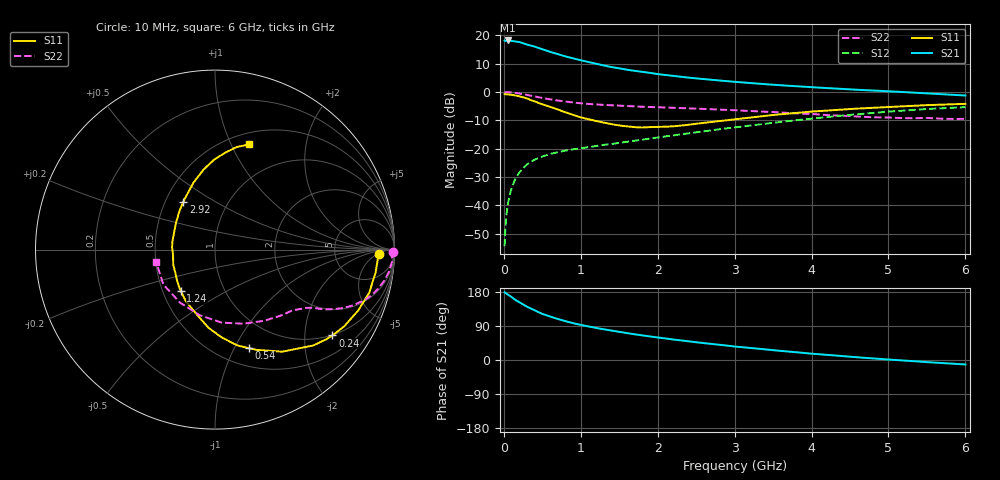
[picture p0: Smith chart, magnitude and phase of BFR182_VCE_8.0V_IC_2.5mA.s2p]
! Infineon Technologies  Discrete & RF Semiconductors
! BFR182
! VCE =  8.0 V,  IC =  2.5 mA
! Common Emitter S-Parameters:  Nov 2015
# GHz  S  MA  R  50
!  f  S11  S21  S12  S22
! GHz  MAG  ANG  MAG  ANG  MAG  ANG  MAG  ANG
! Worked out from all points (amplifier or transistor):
!   210 points, 10 MHz to 6 GHz, reference 50 ohm
!   highest |S21| = 18.1 dB at 50 MHz (marker M1)
!   |S21| within 3 dB of that: start of sweep to 488 MHz
!   unconditionally stable (mu >= 1): 1.394 GHz to 3.118 GHz
!   at 185 MHz: K = 0.21, MSG = 23.4 dB, |S12| = -29.1 dB
!   at 1.52 GHz: K = 1.02, MAG = 12.1 dB, |S12| = -17.9 dB
!   at 6 GHz: K = 0.88, MSG = 2.1 dB, |S12| = -5.4 dB
!   S11 on the Smith chart (normalised r, x): 10 MHz: 20, -6; 240 MHz: 0.98, -2.74; 540 MHz: 0.69, -1.14; 1.24 GHz: 0.62, -0.31; 2.92 GHz: 0.62, +0.36; 6 GHz: 0.62, +1.17
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0.01  0.9122 -1.7  8.054 178.6  0.0019 89.7  0.9945 -0.7
0.02  0.9091 -3.0  7.887 176.9  0.0039 90.7  0.9841 -1.4
0.05  0.9039 -8.1  8.071 172.9  0.01 84.8  0.9897 -3.6
0.1  0.8921 -15.7  7.964 166.2  0.0198 80.7  0.9783 -7.0
0.15  0.8663 -23.2  7.735 158.6  0.0292 76.2  0.9599 -10.3
0.2  0.8371 -30.7  7.576 152.4  0.0375 73.3  0.936 -13.3
0.24  0.8103 -36.2  7.271 147.6  0.0436 69.7  0.9158 -15.5
0.3  0.7649 -44.3  6.845 140.7  0.0524 66.6  0.8858 -18.2
0.4  0.6812 -56.6  6.309 131.0  0.0637 61.5  0.8305 -22.0
0.5  0.6047 -67.5  5.642 121.6  0.0724 57.9  0.7785 -24.8
0.54  0.5801 -71.1  5.412 119.0  0.0756 56.8  0.7624 -25.5
0.7  0.4895 -85.8  4.637 108.3  0.0864 53.7  0.7043 -28.2
0.8  0.4381 -94.6  4.224 102.4  0.0921 52.4  0.6754 -29.3
1.02  0.3494 -112.4  3.557 91.7  0.1021 52.3  0.6253 -31.3
1.24  0.2982 -129.8  3.037 83.1  0.113 52.7  0.5954 -33.1
1.6  0.2477 -159.9  2.456 70.8  0.1316 54.2  0.5639 -36.4
2.02  0.2416 169.1  2.043 58.9  0.1581 56.1  0.5351 -41.2
2.92  0.3186 123.7  1.537 37.5  0.2293 55.7  0.4798 -55.6
3.1  0.3396 118.0  1.468 33.8  0.246 54.9  0.4666 -59.5
4.1  0.4587 96.6  1.188 15.2  0.3481 47.5  0.3987 -88.2
5.1  0.5495 82.9  1.009 -0.1  0.4577 35.5  0.3483 -128.0
6  0.6151 72.2  0.863 -11.8  0.538 21.9  0.3345 -167.9
